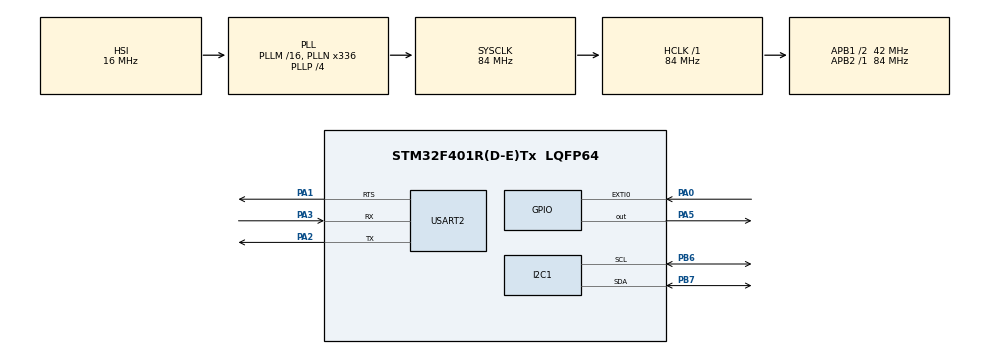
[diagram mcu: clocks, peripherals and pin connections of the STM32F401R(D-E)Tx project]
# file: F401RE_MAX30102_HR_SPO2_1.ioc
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I2C1.I2C_Mode=I2C_Fast
Mcu.Family=STM32F4
Mcu.Name=STM32F401R(D-E)Tx
Mcu.Package=LQFP64
NVIC.EXTI0_IRQn=true\:0\:0\:false\:false\:true\:true\:true\:true
NVIC.PriorityGroup=NVIC_PRIORITYGROUP_0
PA0-WKUP.GPIO_PuPd=GPIO_PULLUP
PA0-WKUP.Signal=GPXTI0
PA1.Mode=RTS_Only
PA1.Signal=USART2_RTS
PA2.Mode=Asynchronous
PA2.Signal=USART2_TX
PA3.Mode=Asynchronous
PA3.Signal=USART2_RX
PA5.Signal=GPIO_Output
PB6.Mode=I2C
PB6.Signal=I2C1_SCL
PB7.Mode=I2C
PB7.Signal=I2C1_SDA
PH0\ -\ OSC_IN.Mode=HSE-External-Oscillator
PH0\ -\ OSC_IN.Signal=RCC_OSC_IN
PH1\ -\ OSC_OUT.Mode=HSE-External-Oscillator
PH1\ -\ OSC_OUT.Signal=RCC_OSC_OUT
ProjectManager.HeapSize=0x200
ProjectManager.StackSize=0x400
ProjectManager.TargetToolchain=STM32CubeIDE
RCC.48MHZClocksFreq_Value=48000000
RCC.AHBFreq_Value=84000000
RCC.APB1CLKDivider=RCC_HCLK_DIV2
RCC.APB1Freq_Value=42000000
RCC.APB1TimFreq_Value=84000000
RCC.APB2Freq_Value=84000000
RCC.APB2TimFreq_Value=84000000
RCC.CortexFreq_Value=84000000
RCC.HCLKFreq_Value=84000000
RCC.HSE_VALUE=8000000
RCC.HSI_VALUE=16000000
RCC.LSE_VALUE=32768
RCC.PLLM=8
RCC.PLLN=336
RCC.PLLP=RCC_PLLP_DIV4
RCC.PLLQ=7
RCC.PLLSourceVirtual=RCC_PLLSOURCE_HSE
RCC.SYSCLKFreq_VALUE=84000000
RCC.SYSCLKSource=RCC_SYSCLKSOURCE_PLLCLK
RCC.VCOOutputFreq_Value=336000000
USART2.VirtualMode=VM_ASYNC
board=NUCLEO-F401RE

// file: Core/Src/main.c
/* USER CODE BEGIN Header */
/**
  ******************************************************************************
  * @file           : main.c
  * @brief          : MAX30102 Heart Rate and SpO2 Monitor - Production Version
  ******************************************************************************
  */
/* USER CODE END Header */
#include "main.h"

/* USER CODE BEGIN Includes */
#include "MAX30102/MAX30102.h"
#include <stdio.h>
#include <string.h>
/* USER CODE END Includes */

I2C_HandleTypeDef hi2c1;
UART_HandleTypeDef huart2;

void SystemClock_Config(void);
static void MX_GPIO_Init(void);
static void MX_I2C1_Init(void);
static void MX_USART2_UART_Init(void);

/* USER CODE BEGIN 0 */

// Printf redirection to UART
int __io_putchar(int ch)
{
    HAL_UART_Transmit(&huart2, (uint8_t *)&ch, 1, HAL_MAX_DELAY);
    return ch;
}

// Convenience helper for sending strings over UART2
void UART2_SendString(const char *str)
{
    HAL_UART_Transmit(&huart2, (uint8_t *)str, strlen(str), HAL_MAX_DELAY);
}

/* USER CODE END 0 */

int main(void)
{

  /* MCU Configuration--------------------------------------------------------*/

  /* Reset of all peripherals, Initializes the Flash interface and the Systick. */
  HAL_Init();

  /* Configure the system clock */
  SystemClock_Config();

  /* Initialize all configured peripherals */
  MX_GPIO_Init();
  MX_I2C1_Init();
  MX_USART2_UART_Init();

  // Indicate that UART2 is working
  UART2_SendString("UART2 initialized\r\n");

  /* USER CODE BEGIN 2 */

  // Wait for system to stabilize
  HAL_Delay(1000);

  printf("\r\n");
  printf("===========================================\r\n");
  printf("     MAX30102 Heart Rate & SpO2 Monitor   \r\n");
  printf("              Version 1.0                 \r\n");
  printf("===========================================\r\n");
  printf("Initializing system...\r\n\r\n");

  // Initialize MAX30102
  printf("Connecting to MAX30102 sensor...\r\n");
  if (HAL_I2C_IsDeviceReady(&hi2c1, MAX30102_ADDRESS, 3, 1000) != HAL_OK) {
    printf("ERROR: MAX30102 not found!\r\n");
    printf("Please check your connections and restart.\r\n");
    while(1) {
      HAL_GPIO_TogglePin(GPIOA, GPIO_PIN_5);
      HAL_Delay(200);
    }
  }

  printf("MAX30102 sensor connected successfully!\r\n");

  if (Max30102_Init(&hi2c1) != MAX30102_OK) {
    printf("ERROR: Sensor initialization failed!\r\n");
    while(1) {
      HAL_GPIO_TogglePin(GPIOA, GPIO_PIN_5);
      HAL_Delay(100);
    }
  }

  printf("Sensor initialized and ready!\r\n\r\n");

  printf("Instructions:\r\n");
  printf("   - Place your finger gently on the sensor\r\n");
  printf("   - Cover both RED and IR LEDs completely\r\n");
  printf("   - Keep your finger still during measurement\r\n");
  printf("   - Wait 10-15 seconds for stable readings\r\n\r\n");

  printf("Measurement Display Format:\r\n");
  printf("   [MM:SS] Heart Rate: XXX bpm | SpO2: XX%% | Finger: YES/NO\r\n");

  printf("\r\n===========================================\r\n");
  printf("Starting continuous monitoring...\r\n\r\n");

  /* USER CODE END 2 */

  /* Infinite loop */
  /* USER CODE BEGIN WHILE */
  uint32_t last_measurement_time = 0;
  uint32_t led_toggle_time = 0;
  uint32_t startup_time = HAL_GetTick();
  uint8_t measurement_count = 0;
  uint8_t last_finger_state = 0;
  int32_t hr_history[5] = {0};  // Store last 5 HR readings for averaging
  int32_t spo2_history[5] = {0}; // Store last 5 SpO2 readings for averaging
  uint8_t history_index = 0;

  while (1)
  {
    /* USER CODE END WHILE */

    /* USER CODE BEGIN 3 */

    // Run MAX30102 state machine
    Max30102_Task();

    // Display measurements every 2 seconds
    if (HAL_GetTick() - last_measurement_time >= 2000) {
        last_measurement_time = HAL_GetTick();

        int32_t heart_rate = Max30102_GetHeartRate();
        int32_t spo2 = Max30102_GetSpO2Value();
        uint8_t finger_detected = Max30102_IsFingerOnSensor();

        // Print timestamp
        uint32_t seconds = (HAL_GetTick() - startup_time) / 1000;
        printf("[%02lu:%02lu] ", seconds / 60, seconds % 60);

        // Check for finger state changes
        if (finger_detected != last_finger_state) {
            if (finger_detected) {
                printf("Finger detected! Starting measurement...\r\n");
                measurement_count = 0;
                // Clear history when finger is newly detected
                for(int i = 0; i < 5; i++) {
                    hr_history[i] = 0;
                    spo2_history[i] = 0;
                }
                history_index = 0;
            } else {
                printf("Finger removed. Place finger to continue...\r\n");
            }
            last_finger_state = finger_detected;
        }

        if (finger_detected) {
            // Store valid readings in history for averaging
            if (heart_rate > 40 && heart_rate < 200) {
                hr_history[history_index] = heart_rate;
            }
            if (spo2 > 80 && spo2 <= 100) {
                spo2_history[history_index] = spo2;
            }
            history_index = (history_index + 1) % 5;

            // Calculate averages for more stable readings
            int32_t hr_avg = 0, spo2_avg = 0;
            int hr_count = 0, spo2_count = 0;

            for(int i = 0; i < 5; i++) {
                if(hr_history[i] > 0) {
                    hr_avg += hr_history[i];
                    hr_count++;
                }
                if(spo2_history[i] > 0) {
                    spo2_avg += spo2_history[i];
                    spo2_count++;
                }
            }

            printf("Heart Rate: ");
            if (hr_count > 0) {
                hr_avg /= hr_count;
                printf("%3ld bpm", hr_avg);

                // Add heart rate status indicator
                if (hr_avg < 60) printf(" (Low)");
                else if (hr_avg > 100) printf(" (High)");
                else printf(" (Normal)");
            } else {
                printf("--- bpm");
            }

            printf(" | SpO2: ");
            if (spo2_count > 0) {
                spo2_avg /= spo2_count;
                printf("%2ld", spo2_avg);
                printf("%%");

                // Add SpO2 status indicator
                if (spo2_avg >= 98) printf(" (Excellent)");
                else if (spo2_avg >= 95) printf(" (Good)");
                else if (spo2_avg >= 90) printf(" (Fair)");
                else printf(" (Low)");
            } else {
                printf("--");
                printf("%%");
            }

            printf(" | Finger: YES");

            if (measurement_count < 5) {
                printf(" | Stabilizing (%d/5)", measurement_count + 1);
                measurement_count++;
            } else {
                printf(" | Stable");
            }

        } else {
            printf("Heart Rate: --- bpm | SpO2: --");
            printf("%% | Finger: NO | Place finger on sensor");
        }

        printf("\r\n");
    }

    // Toggle status LED every 1 second to show system is alive
    if (HAL_GetTick() - led_toggle_time >= 1000) {
        led_toggle_time = HAL_GetTick();
        HAL_GPIO_TogglePin(GPIOA, GPIO_PIN_5);
    }

    // Small delay to prevent overwhelming the system
    HAL_Delay(10);
  }
  /* USER CODE END 3 */
}

void SystemClock_Config(void)
{
  RCC_OscInitTypeDef RCC_OscInitStruct = {0};
  RCC_ClkInitTypeDef RCC_ClkInitStruct = {0};

  /** Configure the main internal regulator output voltage
  */
  __HAL_RCC_PWR_CLK_ENABLE();
  __HAL_PWR_VOLTAGESCALING_CONFIG(PWR_REGULATOR_VOLTAGE_SCALE2);

  /** Initializes the RCC Oscillators according to the specified parameters
  * in the RCC_OscInitTypeDef structure.
  */
  RCC_OscInitStruct.OscillatorType = RCC_OSCILLATORTYPE_HSI;
  RCC_OscInitStruct.HSIState = RCC_HSI_ON;
  RCC_OscInitStruct.HSICalibrationValue = RCC_HSICALIBRATION_DEFAULT;
  RCC_OscInitStruct.PLL.PLLState = RCC_PLL_ON;
  RCC_OscInitStruct.PLL.PLLSource = RCC_PLLSOURCE_HSI;
  RCC_OscInitStruct.PLL.PLLM = 16;
  RCC_OscInitStruct.PLL.PLLN = 336;
  RCC_OscInitStruct.PLL.PLLP = RCC_PLLP_DIV4;
  RCC_OscInitStruct.PLL.PLLQ = 7;
  if (HAL_RCC_OscConfig(&RCC_OscInitStruct) != HAL_OK)
  {
    Error_Handler();
  }

  /** Initializes the CPU, AHB and APB buses clocks
  */
  RCC_ClkInitStruct.ClockType = RCC_CLOCKTYPE_HCLK|RCC_CLOCKTYPE_SYSCLK
                              |RCC_CLOCKTYPE_PCLK1|RCC_CLOCKTYPE_PCLK2;
  RCC_ClkInitStruct.SYSCLKSource = RCC_SYSCLKSOURCE_PLLCLK;
  RCC_ClkInitStruct.AHBCLKDivider = RCC_SYSCLK_DIV1;
  RCC_ClkInitStruct.APB1CLKDivider = RCC_HCLK_DIV2;
  RCC_ClkInitStruct.APB2CLKDivider = RCC_HCLK_DIV1;

  if (HAL_RCC_ClockConfig(&RCC_ClkInitStruct, FLASH_LATENCY_2) != HAL_OK)
  {
    Error_Handler();
  }
}

static void MX_I2C1_Init(void)
{

  hi2c1.Instance = I2C1;
  hi2c1.Init.ClockSpeed = 400000;
  hi2c1.Init.DutyCycle = I2C_DUTYCYCLE_2;
  hi2c1.Init.OwnAddress1 = 0;
  hi2c1.Init.AddressingMode = I2C_ADDRESSINGMODE_7BIT;
  hi2c1.Init.DualAddressMode = I2C_DUALADDRESS_DISABLE;
  hi2c1.Init.OwnAddress2 = 0;
  hi2c1.Init.GeneralCallMode = I2C_GENERALCALL_DISABLE;
  hi2c1.Init.NoStretchMode = I2C_NOSTRETCH_DISABLE;
  if (HAL_I2C_Init(&hi2c1) != HAL_OK)
  {
    Error_Handler();
  }
}

static void MX_USART2_UART_Init(void)
{

  huart2.Instance = USART2;
  huart2.Init.BaudRate = 115200;
  huart2.Init.WordLength = UART_WORDLENGTH_8B;
  huart2.Init.StopBits = UART_STOPBITS_1;
  huart2.Init.Parity = UART_PARITY_NONE;
  huart2.Init.Mode = UART_MODE_TX_RX;
  huart2.Init.HwFlowCtl = UART_HWCONTROL_NONE;
  huart2.Init.OverSampling = UART_OVERSAMPLING_16;
  if (HAL_UART_Init(&huart2) != HAL_OK)
  {
    Error_Handler();
  }
}

static void MX_GPIO_Init(void)
{
  GPIO_InitTypeDef GPIO_InitStruct = {0};

  /* GPIO Ports Clock Enable */
  __HAL_RCC_GPIOA_CLK_ENABLE();
  __HAL_RCC_GPIOB_CLK_ENABLE();

  /*Configure GPIO pin Output Level */
  HAL_GPIO_WritePin(GPIOA, GPIO_PIN_5, GPIO_PIN_RESET);

  /*Configure GPIO pin : PA0 (MAX30102 Interrupt) */
  GPIO_InitStruct.Pin = GPIO_PIN_0;
  GPIO_InitStruct.Mode = GPIO_MODE_IT_FALLING;
  GPIO_InitStruct.Pull = GPIO_PULLUP;
  HAL_GPIO_Init(GPIOA, &GPIO_InitStruct);

  /*Configure GPIO pin : PA5 (Status LED) */
  GPIO_InitStruct.Pin = GPIO_PIN_5;
  GPIO_InitStruct.Mode = GPIO_MODE_OUTPUT_PP;
  GPIO_InitStruct.Pull = GPIO_NOPULL;
  GPIO_InitStruct.Speed = GPIO_SPEED_FREQ_LOW;
  HAL_GPIO_Init(GPIOA, &GPIO_InitStruct);

  /* EXTI interrupt init*/
  HAL_NVIC_SetPriority(EXTI0_IRQn, 0, 0);
  HAL_NVIC_EnableIRQ(EXTI0_IRQn);

}

/* USER CODE BEGIN 4 */

// GPIO External Interrupt Callback
void HAL_GPIO_EXTI_Callback(uint16_t GPIO_Pin)
{
  if (GPIO_Pin == GPIO_PIN_0)
  {
    // MAX30102 interrupt triggered
    Max30102_InterruptCallback();
  }
}

/* USER CODE END 4 */

void Error_Handler(void)
{
  /* USER CODE BEGIN Error_Handler_Debug */
  /* User can add his own implementation to report the HAL error return state */
  __disable_irq();
  printf("FATAL ERROR: System halted!\r\n");
  while (1)
  {
    // Blink LED rapidly to indicate fatal error
    HAL_GPIO_TogglePin(GPIOA, GPIO_PIN_5);
    HAL_Delay(50);
  }
  /* USER CODE END Error_Handler_Debug */
}

#ifdef  USE_FULL_ASSERT
/**
  * @brief  Reports the name of the source file and the source line number
  *         where the assert_param error has occurred.
  * @param  file: pointer to the source file name
  * @param  line: assert_param error line source number
  * @retval None
  */
void assert_failed(uint8_t *file, uint32_t line)
{
  /* USER CODE BEGIN 6 */
  /* User can add his own implementation to report the file name and line number,
     ex: printf("Wrong parameters value: file %s on line %d\r\n", file, line) */
  printf("Assert failed: %s on line %lu\r\n", file, line);
  /* USER CODE END 6 */
}
#endif /* USE_FULL_ASSERT */
